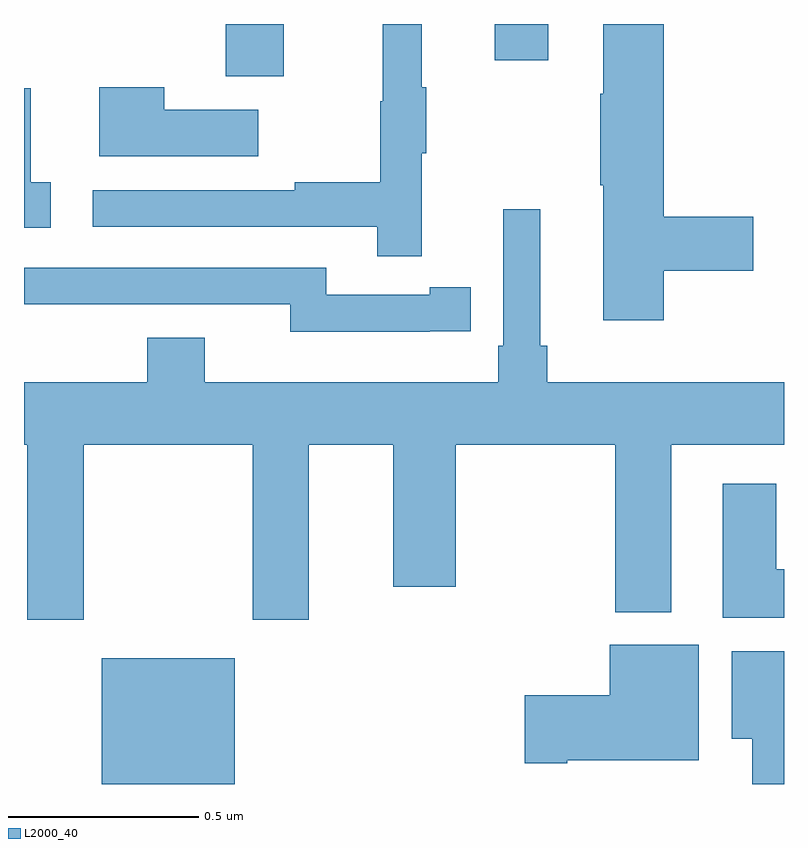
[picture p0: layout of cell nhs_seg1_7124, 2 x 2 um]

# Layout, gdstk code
import gdstk
lib = gdstk.Library(unit=1e-6, precision=1e-09)
def R(c, l, rs):  # rectangles x0, y0, x1, y1
    for r in rs: c.add(gdstk.rectangle(r[:2], r[2:], *l))
def P(c, l, *ps):  # polygons
    for p in ps: c.add(gdstk.Polygon(p, *l))
L2000_40 = (2000, 40)

nhs_seg1_7124 = lib.new_cell('nhs_seg1_7124')
R(nhs_seg1_7124, L2000_40, [(200.204,524.199,200.554,524.53), (200.531,526.062,200.683,526.199), (201.239,526.104,201.379,526.199)])
P(nhs_seg1_7124, L2000_40, [(201.047,525.859),(201.058,525.859),(201.058,526.033),(201.047,526.033),(201.047,526.199),(200.944,526.199),(200.944,525.996),(200.937,525.996),(200.937,525.782),(200.713,525.782),(200.713,525.762),(200.181,525.762),(200.181,525.666),(200.929,525.666),(200.929,525.588),(201.047,525.588)],
  [(201.683,525.55),(201.919,525.55),(201.919,525.692),(201.683,525.692),(201.683,526.199),(201.524,526.199),(201.524,526.016),(201.517,526.016),(201.517,525.775),(201.524,525.775),(201.524,525.42),(201.683,525.42)],
  [(200.617,525.973),(200.369,525.973),(200.369,526.033),(200.198,526.033),(200.198,525.851),(200.617,525.851)],
  [(200.071,525.783),(200.018,525.783),(200.018,526.03),(200,526.03),(200,525.663),(200.071,525.663)],
  [(201.068,525.39),(201.176,525.39),(201.176,525.506),(201.068,525.506),(201.068,525.486),(200.796,525.486),(200.796,525.558),(200,525.558),(200,525.461),(200.24,525.461),(200.24,525.462),(200.7,525.462),(200.7,525.389),(201.068,525.389)],
  [(201.377,525.352),(201.358,525.352),(201.358,525.712),(201.261,525.712),(201.261,525.352),(201.248,525.352),(201.248,525.256),(200.476,525.256),(200.476,525.373),(200.324,525.373),(200.324,525.256),(200,525.256),(200,525.092),(200.009,525.092),(200.009,524.631),(200.157,524.631),(200.157,525.092),(200.602,525.092),(200.602,524.631),(200.749,524.631),(200.749,525.092),(200.972,525.092),(200.972,524.718),(201.136,524.718),(201.136,525.092),(201.556,525.092),(201.556,524.651),(201.703,524.651),(201.703,525.092),(202,525.092),(202,525.256),(201.377,525.256)],
  [(202,524.764),(201.979,524.764),(201.979,524.989),(201.839,524.989),(201.839,524.636),(202,524.636)],
  [(201.43,524.261),(201.775,524.261),(201.775,524.566),(201.542,524.566),(201.542,524.432),(201.318,524.432),(201.318,524.254),(201.43,524.254)],
  [(202,524.548),(201.863,524.548),(201.863,524.318),(201.917,524.318),(201.917,524.199),(202,524.199)])

lib.write_gds('nhs_seg1_7124.gds')
